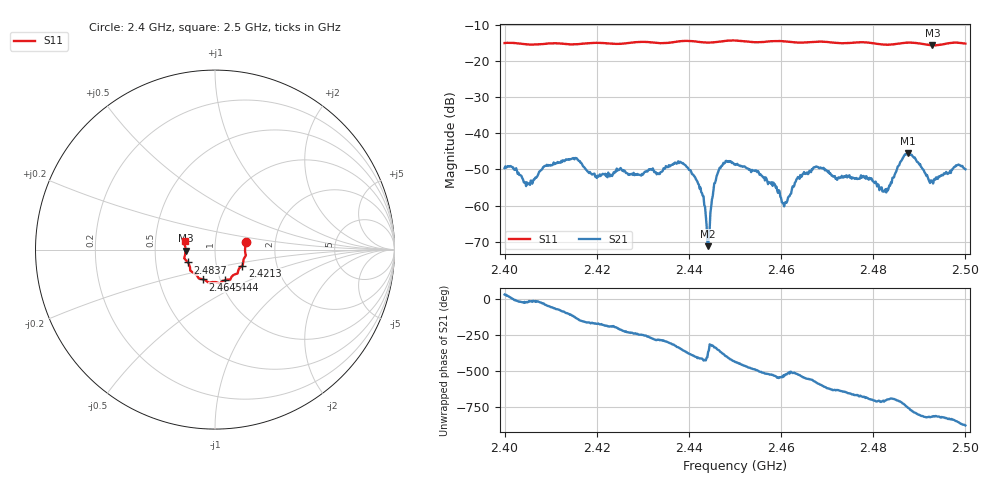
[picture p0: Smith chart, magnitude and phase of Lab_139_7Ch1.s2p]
# Hz S RI R 50
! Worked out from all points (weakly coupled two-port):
!   601 points, 2.4 GHz to 2.5 GHz, reference 50 ohm
!   highest |S21| = -45.53 dB at 2.4875 GHz (marker M1); lowest = -71.2 dB at 2.4442 GHz (marker M2)
!   lowest |S11| = -15.7 dB at 2.4928 GHz (marker M3), VSWR 1.39, Z = 36 - j0.383 ohm
!   |S11| at or under -10 dB: start of sweep to end of sweep
!   S12 and S22 are empty: the file has one direction only
!   S11 on the Smith chart (normalised r, x): 2.4 GHz: 1.41, +0.12; 2.4213 GHz: 1.33, -0.25; 2.444 GHz: 1.06, -0.37; 2.4645 GHz: 0.83, -0.29; 2.4837 GHz: 0.73, -0.11; 2.5 GHz: 0.71, +0.07
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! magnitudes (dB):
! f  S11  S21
! 2.4 GHz  -15.1  -49.7
! 2.405 GHz  -15.5  -54.1
! 2.409 GHz  -15.3  -49.0
! 2.4167 GHz  -15.3  -48.3
! 2.4213 GHz  -15.1  -51.2
! 2.4333 GHz  -15.1  -51.1
! 2.4398 GHz  -14.5  -49.7
! 2.4427 GHz  -14.8  -56.3
! 2.444 GHz  -15.0  -69.8
! 2.4442 GHz  -15.0  -71.2
! 2.4455 GHz  -14.9  -53.9
! 2.4465 GHz  -14.7  -50.2
! 2.45 GHz  -14.4  -48.6
! 2.4585 GHz  -14.5  -54.1
! 2.4607 GHz  -14.6  -60.2
! 2.4645 GHz  -15.0  -52.0
! 2.4667 GHz  -14.8  -49.9
! 2.4833 GHz  -15.6  -55.2
! 2.4837 GHz  -15.5  -54.5
! 2.4875 GHz  -15.0  -45.5
! 2.4928 GHz  -15.7  -53.4
! 2.5 GHz  -15.2  -50.0
